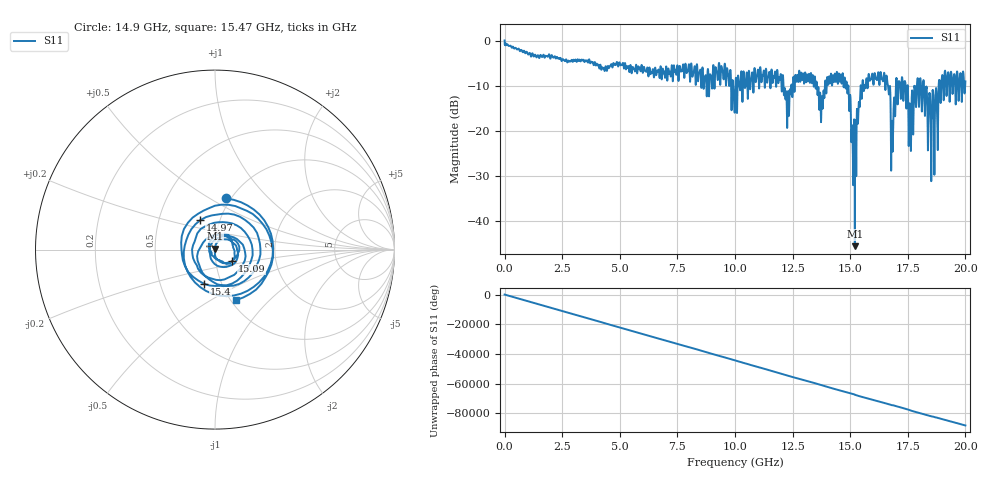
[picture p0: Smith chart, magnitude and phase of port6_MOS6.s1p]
! MS46122B
! 2250307/22442219
! 6/12/2025 7:39:13 AM
! C:\USERS\SPARKY\DOCUMENTS\VNA_DATA\JUNE12_2025\3.1 KELVIN\PORT6.S1P
! CHANNEL.1
! TR.MEASUREMENT
! RAW.DATA
# GHZ S RI R 50.0
! FREQ.GHZ  S11RE  S11IM
!; PortSelection: Port_1
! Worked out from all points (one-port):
!   10001 points, 1 MHz to 20 GHz, reference 50 ohm
!   lowest |S11| = -45.5 dB at 15.2 GHz (marker M1), VSWR 1.01, Z = 49.9 + j0.525 ohm
!   |S11| at or under -10 dB: 13.56 GHz to 13.9 GHz (339.4 MHz wide, 2.47 % of centre); 14.92 GHz to 15.45 GHz (527.4 MHz wide, 3.47 % of centre); 18.2 GHz to 18.84 GHz (635.7 MHz wide, 3.43 % of centre) (the widest 3 of 57)
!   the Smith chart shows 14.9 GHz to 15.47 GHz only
!   S11 on the Smith chart (normalised r, x): 14.9 GHz: 0.95, +0.59; 14.97 GHz: 0.81, +0.28; 15.09 GHz: 1.20, -0.15; 15.4 GHz: 0.82, -0.33; 15.47 GHz: 1.05, -0.65
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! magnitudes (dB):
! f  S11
! 1 MHz  0.2
! 2.501 GHz  -4.1
! 5.001 GHz  -4.8
! 7.501 GHz  -5.3
! 9.487 GHz  -7.5
! 10 GHz  -13.7
! 10.92 GHz  -8.2
! 11.91 GHz  -8.0
! 12.27 GHz  -17.6
! 12.5 GHz  -11.8
! 14.42 GHz  -6.8
! 14.9 GHz  -10.7
! 14.97 GHz  -14.7
! 15 GHz  -11.9
! 15.09 GHz  -18.7
! 15.2 GHz  -45.5
! 15.4 GHz  -14.0
! 15.47 GHz  -10.3
! 16.4 GHz  -8.5
! 16.65 GHz  -10.2
! 16.86 GHz  -20.7
! 17.08 GHz  -11.9
! 17.5 GHz  -10.3
! 17.64 GHz  -23.4
! 17.99 GHz  -14.5
! 18.58 GHz  -11.1
! 19.05 GHz  -12.8
! 20 GHz  -8.9
